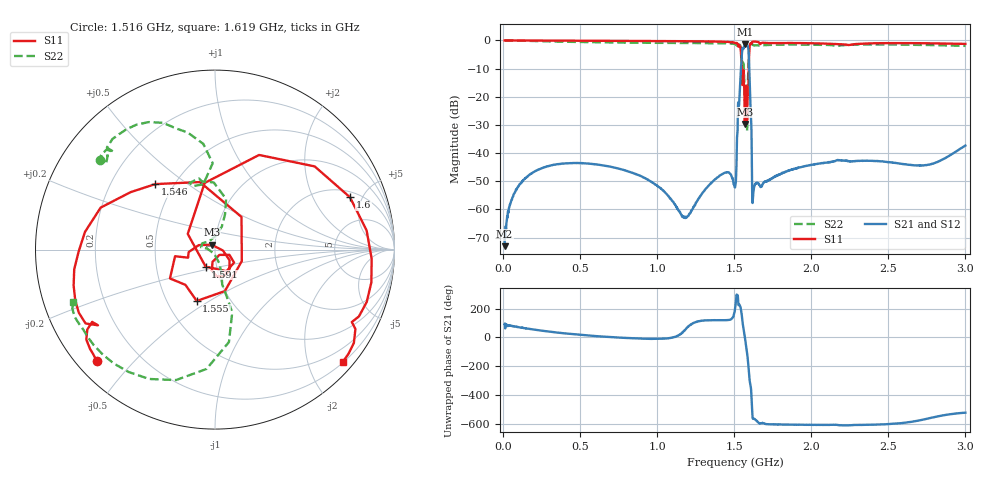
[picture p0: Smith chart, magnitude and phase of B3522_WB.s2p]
! Matrix data file written by TouchstoneData, EPCOS AG
! FILENAME: "newformat_LP86B_WB.s2p"
! COMMENT: "PCB QCC8D1_26  6 Jun 2006 S11-KEIN KOMMENTAR"
! INFO: nport=2, nfreq=1601
! DATE: "Wed Jan  9 15:29:11 2013"
! USER: "Michael Schemies"
! port | pin | signal
!  1  |  2  |  in
!  2  |  5  |  out
# MHZ S MA R 50
! freq  magS11 angS11  magS21 angS21  magS12 angS12  magS22 angS22
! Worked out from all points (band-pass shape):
!   1601 points, 10 MHz to 3 GHz, reference 50 ohm
!   highest |S21| = -1.22 dB at 1.57 GHz (marker M1); lowest = -73.0 dB at 10 MHz (marker M2)
!   |S21| within 3 dB of the highest: 1.551 GHz to 1.594 GHz (42.92 MHz wide, 2.73 % of centre)
!   lowest |S11| = -29.6 dB at 1.569 GHz (marker M3), VSWR 1.07, Z = 48.1 + j2.63 ohm
!   |S11| at or under -10 dB: 1.549 GHz to 1.594 GHz (45.55 MHz wide, 2.9 % of centre)
!   |S22| runs from -32.2 to 0.0 dB; largest |S21 - S12| = 0.0056
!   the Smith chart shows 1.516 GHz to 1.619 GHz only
!   S11 on the Smith chart (normalised r, x): 1.516 GHz: 0.06, -0.39; 1.546 GHz: 0.40, +0.38; 1.555 GHz: 0.70, -0.44; 1.591 GHz: 0.89, -0.17; 1.6 GHz: 2.38, +3.97; 1.619 GHz: 0.21, -2.63
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10  0.9995 -0.7  0.0002226 91.9  0.0002414 84.4  0.9993 -3.0
52.98125  0.9988 -3.6  0.001426 80.8  0.001418 79.8  0.9967 -15.9
137.075  0.9973 -9.3  0.003425 65.1  0.003402 65.3  0.9872 -39.9
294.05  0.9945 -19.5  0.005876 41.2  0.0059 41.5  0.9627 -78.0
508.9562  0.9892 -33.6  0.006633 17.6  0.006643 17.5  0.9351 -114.9
1007.912  0.9752 -66.3  0.002528 -8.9  0.002549 -9.1  0.9063 -162.7
1183.575  0.9692 -78.5  0.0007046 53.8  0.0007033 56.3  0.8998 -174.8
1377.925  0.9552 -95.8  0.003464 119.4  0.003456 119.8  0.8907 170.8
1505  0.9059 -127.9  0.002447 -162.5  0.002469 -161.3  0.868 147.9
1516.212  0.9044 -136.8  0.01013 -62.1  0.01025 -61.7  0.8102 141.9
1546.112  0.494 132.4  0.3881 176.4  0.39 176.4  0.6703 103.2
1555.456  0.3037 -109.6  0.7297 94.2  0.7298 94.1  0.3978 110.9
1568.537  0.03305 124.3  0.8668 5.4  0.8674 5.3  0.07694 86.7
1570.406  0.04497 -6.9  0.8694 -8.7  0.8696 -8.9  0.05684 126.5
1590.962  0.1082 -118.8  0.7294 175.2  0.7283 174.8  0.2576 -76.2
1600.306  0.8063 21.2  0.1841 59.1  0.1821 58.9  0.8086 -116.9
1618.994  0.9485 -41.4  0.0013 163.6  0.001319 163.6  0.8426 -159.8
1632.075  0.9549 -57.4  0.002653 153.1  0.002643 153.7  0.8121 -166.5
1719.906  0.8977 -85.9  0.003249 117.7  0.003278 118.1  0.8305 176.4
2003.956  0.8916 -107.7  0.006176 113.7  0.006196 113.9  0.841 159.4
2502.912  0.8965 -128.1  0.006902 119.0  0.006936 119.0  0.8458 142.8
3000  0.8685 -151.9  0.0136 -161.9  0.01361 -162.2  0.7992 122.6
